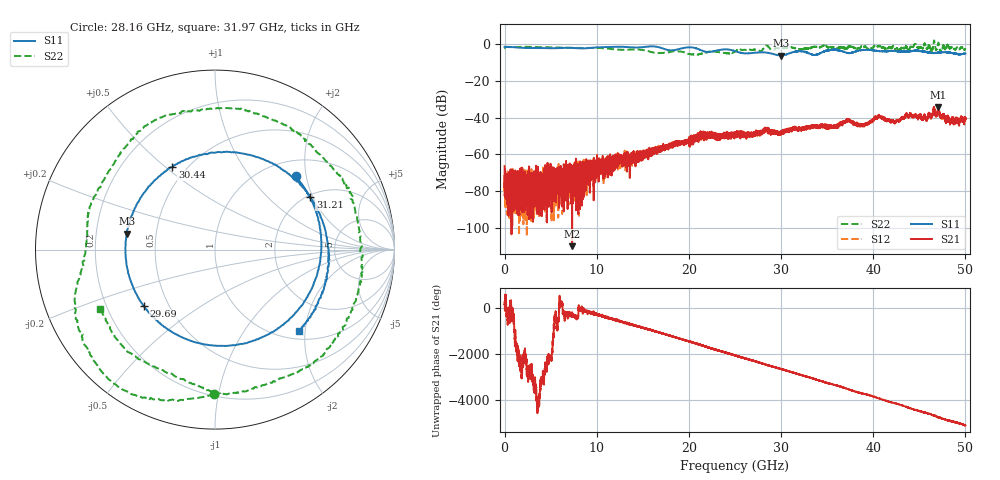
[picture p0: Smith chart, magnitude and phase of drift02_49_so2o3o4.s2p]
!Created with skrf (http://scikit-rf.org).
# Hz S RI R 50.0
!freq ReS11 ImS11 ReS21 ImS21 ReS12 ImS12 ReS22 ImS22
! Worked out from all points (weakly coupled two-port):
!   10001 points, 300 kHz to 50 GHz, reference 50 ohm
!   highest |S21| = -34.18 dB at 47.07 GHz (marker M1); lowest = -110.2 dB at 7.325 GHz (marker M2)
!   lowest |S11| = -6.1 dB at 30.05 GHz (marker M3), VSWR 2.97, Z = 17 + j3.97 ohm
!   |S11| at or under -10 dB: nowhere
!   |S22| runs from -5.7 to 2.2 dB; largest |S21 - S12| = 0.0034
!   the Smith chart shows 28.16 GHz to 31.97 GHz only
!   S11 on the Smith chart (normalised r, x): 28.16 GHz: 1.34, +1.74; 29.69 GHz: 0.36, -0.31; 30.44 GHz: 0.42, +0.53; 31.21 GHz: 2.06, +1.92; 31.97 GHz: 1.18, -1.84
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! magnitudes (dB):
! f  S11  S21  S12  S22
! 300 kHz  -1.3  -66.4  -73.8  -2.1
! 255.3 MHz  -1.4  -78.7  -79.8  -1.4
! 590.3 MHz  -1.4  -80.5  -77.6  -1.5
! 7.325 GHz  -1.9  -110.2  -67.5  -1.9
! 8.335 GHz  -2.2  -71.4  -69.5  -1.9
! 16.67 GHz  -1.5  -57.4  -57.2  -4.7
! 21.64 GHz  -3.8  -52.4  -49.4  -4.8
! 25 GHz  -3.7  -48.9  -49.1  -3.9
! 28.16 GHz  -4.3  -45.9  -46.8  -1.9
! 29.69 GHz  -5.9  -48.2  -48.5  -2.1
! 30.05 GHz  -6.1  -47.9  -47.4  -2.0
! 30.44 GHz  -5.7  -47.2  -47.3  -1.9
! 31.21 GHz  -4.3  -46.7  -45.4  -1.8
! 31.97 GHz  -3.8  -46.1  -45.8  -2.9
! 33.34 GHz  -5.5  -45.0  -44.8  -1.6
! 37.26 GHz  -4.7  -41.3  -41.6  -1.5
! 38.88 GHz  -3.0  -44.1  -44.5  -1.4
! 40.61 GHz  -3.7  -39.2  -39.1  -1.0
! 41.67 GHz  -3.7  -41.4  -41.0  -1.9
! 47.07 GHz  -4.5  -34.2  -35.2  1.0
! 48.51 GHz  -4.6  -40.7  -40.8  -1.6
! 50 GHz  -4.9  -41.0  -40.6  -2.6
